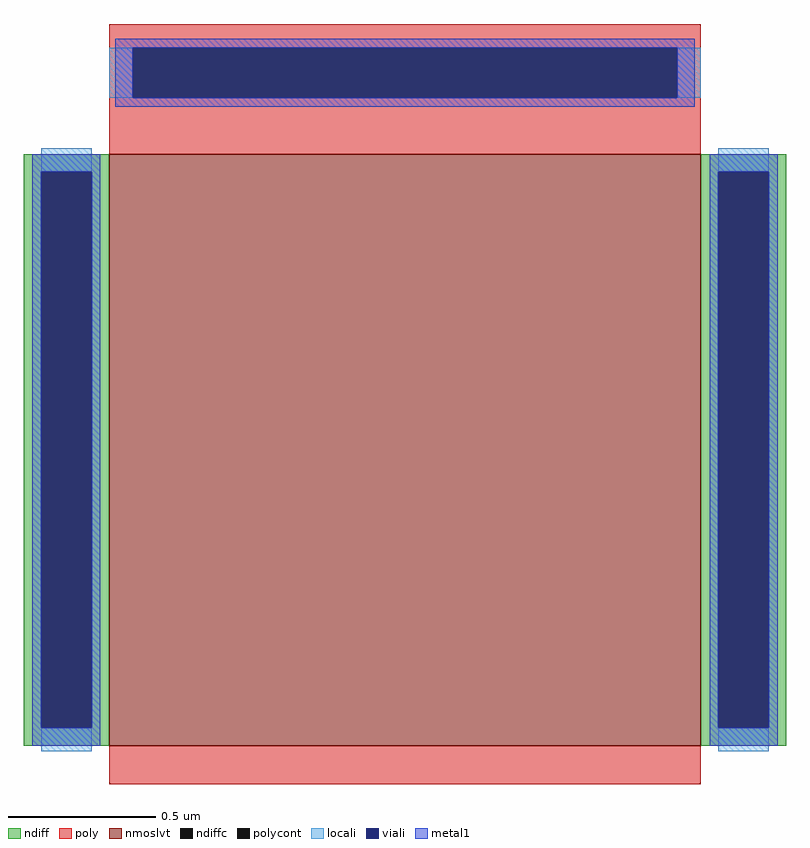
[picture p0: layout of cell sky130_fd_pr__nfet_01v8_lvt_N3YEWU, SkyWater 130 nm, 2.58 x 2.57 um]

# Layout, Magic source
magic
tech sky130A
magscale 1 2
<< nmoslvt >>
rect -200 -231 200 169
<< ndiff >>
rect -258 157 -200 169
rect -258 -219 -246 157
rect -212 -219 -200 157
rect -258 -231 -200 -219
rect 200 157 258 169
rect 200 -219 212 157
rect 246 -219 258 157
rect 200 -231 258 -219
<< ndiffc >>
rect -246 -219 -212 157
rect 212 -219 246 157
<< poly >>
rect -200 241 200 257
rect -200 207 -184 241
rect 184 207 200 241
rect -200 169 200 207
rect -200 -257 200 -231
<< polycont >>
rect -184 207 184 241
<< locali >>
rect -200 207 -184 241
rect 184 207 200 241
rect -246 157 -212 173
rect -246 -235 -212 -219
rect 212 157 246 173
rect 212 -235 246 -219
<< viali >>
rect -184 207 184 241
rect -246 -219 -212 157
rect 212 -219 246 157
<< metal1 >>
rect -196 241 196 247
rect -196 207 -184 241
rect 184 207 196 241
rect -196 201 196 207
rect -252 157 -206 169
rect -252 -219 -246 157
rect -212 -219 -206 157
rect -252 -231 -206 -219
rect 206 157 252 169
rect 206 -219 212 157
rect 246 -219 252 157
rect 206 -231 252 -219
<< properties >>
string gencell sky130_fd_pr__nfet_01v8_lvt
string library sky130
string parameters w 2.0 l 2.0 m 1 nf 1 diffcov 100 polycov 100 guard 0 glc 1 grc 1 gtc 1 gbc 1 tbcov 100 rlcov 100 topc 1 botc 0 poverlap 0 doverlap 1 lmin 0.15 wmin 0.42 compatible {sky130_fd_pr__nfet_01v8 sky130_fd_pr__nfet_01v8_lvt  sky130_fd_bs_flash__special_sonosfet_star  sky130_fd_pr__nfet_g5v0d10v5 sky130_fd_pr__nfet_05v0_nvt  sky130_fd_pr__nfet_03v3_nvt} full_metal 0 viasrc 100 viadrn 100 viagate 100 viagb 0 viagr 0 viagl 0 viagt 0
<< end >>
